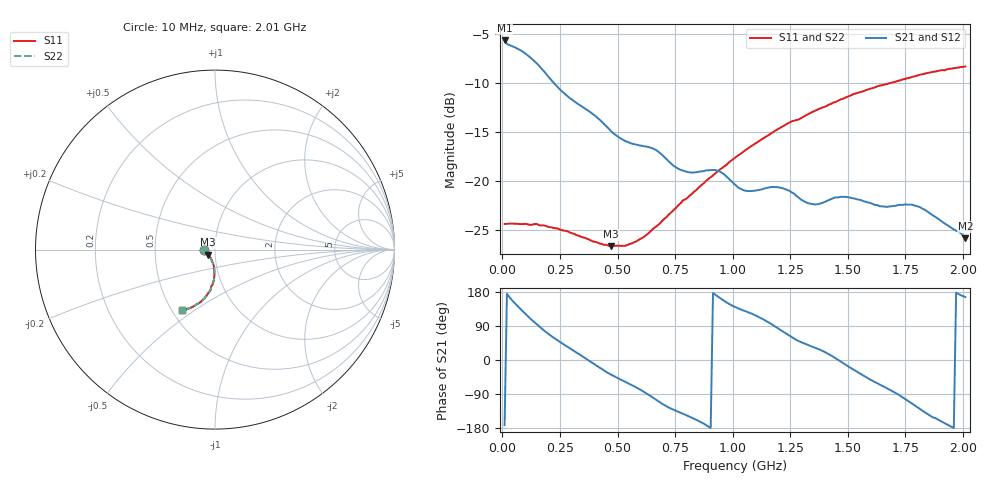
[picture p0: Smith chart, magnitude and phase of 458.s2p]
# MHz S MA R 50
!  freq  S11  S21  S12  S22
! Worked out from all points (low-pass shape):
!   200 points, 10 MHz to 2.01 GHz, reference 50 ohm
!   highest |S21| = -5.67 dB at 10 MHz (marker M1); lowest = -25.8 dB at 2.01 GHz (marker M2)
!   |S21| within 3 dB of the highest: start of sweep to 175.3 MHz
!   lowest |S11| = -26.6 dB at 472.3 MHz (marker M3), VSWR 1.10, Z = 46.3 - j2.56 ohm
!   |S11| at or under -10 dB: start of sweep to 1.687 GHz
!   |S22| runs from -26.7 to -8.3 dB; largest |S21 - S12| = 0.00094
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10  0.06039 -179.8  0.5204 -171.9  0.5204 -171.9  0.06066 -179.9
20.05025  0.06041 -179.1  0.4997 174.7  0.5 174.7  0.06054 -179.1
50.20101  0.0606 -177.8  0.4819 152.4  0.4824 152.4  0.0607 -177.6
80.35176  0.06025 -176.2  0.4629 133.6  0.4631 133.7  0.06032 -176.3
120.5528  0.05973 -174.6  0.4272 110.0  0.4275 110.0  0.05979 -174.8
170.804  0.0594 -172.7  0.3735 83.1  0.374 83.0  0.05917 -172.8
221.0553  0.05764 -171.1  0.3183 59.6  0.3185 59.6  0.05785 -171.1
281.3568  0.05548 -167.3  0.2715 35.5  0.2716 35.4  0.05528 -167.3
351.7085  0.05155 -161.5  0.2369 8.0  0.2368 8.0  0.05155 -161.4
472.3116  0.04651 -143.7  0.1795 -38.8  0.1796 -38.8  0.0464 -143.6
582.8643  0.04924 -124.0  0.1529 -73.0  0.1528 -72.9  0.04928 -124.0
683.3668  0.06064 -107.9  0.139 -111.5  0.1392 -111.5  0.06072 -108.3
773.8191  0.07691 -98.7  0.114 -139.3  0.1138 -139.3  0.07698 -98.6
904.4724  0.1045 -92.6  0.1136 -179.3  0.1138 -179.4  0.1043 -92.7
1015.025  0.1328 -91.4  0.09472 138.7  0.09475 138.3  0.1324 -91.3
1075.327  0.1489 -91.4  0.08881 123.8  0.08857 124.0  0.1491 -91.3
1205.98  0.1865 -93.5  0.09243 79.7  0.09269 79.8  0.1863 -93.5
1346.683  0.2251 -96.3  0.07616 34.8  0.07622 34.6  0.225 -96.2
1487.387  0.2656 -101.0  0.08299 -11.4  0.08292 -11.5  0.2655 -100.9
1678.342  0.3147 -107.2  0.07404 -77.5  0.07403 -77.2  0.3142 -107.2
1808.995  0.3471 -112.0  0.07383 -127.6  0.0737 -127.9  0.347 -112.0
2010  0.3837 -119.0  0.05106 165.9  0.05091 165.8  0.3832 -118.9
